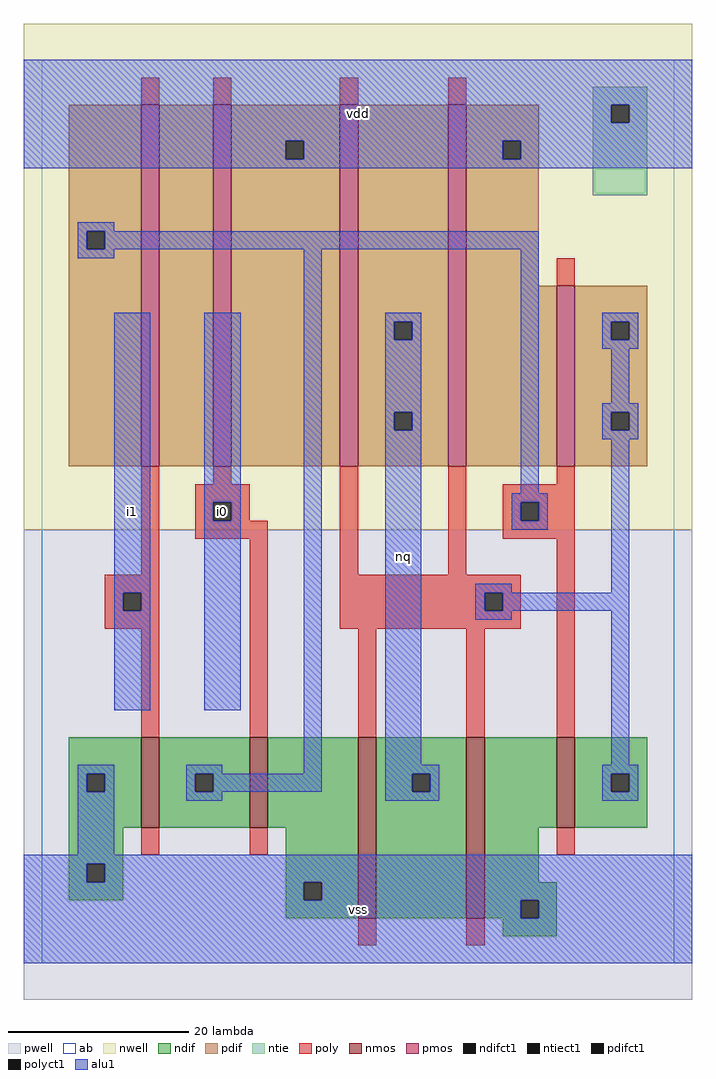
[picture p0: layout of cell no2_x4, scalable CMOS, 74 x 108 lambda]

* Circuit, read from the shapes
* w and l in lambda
.subckt no2_x4 i0 i1 nq vdd vss
M1 n1 i1 vss VSUBS nfet w=10 l=2
M2 vss i0 n1 VSUBS nfet w=10 l=2
M3 nq n2 vss VSUBS nfet w=20 l=2 m=2
M4 n2 n1 vss VSUBS nfet w=10 l=2
M5 n3 i1 n1 vdd pfet w=40 l=2
M6 vdd i0 n3 vdd pfet w=40 l=2
M7 nq n2 vdd vdd pfet w=40 l=2 m=2
M8 n2 n1 vdd vdd pfet w=20 l=2
.ends

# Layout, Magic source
magic
tech scmos
<< ab >>
rect 0 0 70 100
<< nwell >>
rect -2 48 72 104
<< pwell >>
rect -2 -4 72 48
<< poly >>
rect 11 95 13 98
rect 19 95 21 98
rect 33 95 35 98
rect 45 95 47 98
rect 57 75 59 78
rect 11 43 13 55
rect 19 53 21 55
rect 17 51 23 53
rect 17 49 19 51
rect 21 49 23 51
rect 17 47 25 49
rect 7 41 13 43
rect 7 39 9 41
rect 11 39 13 41
rect 7 37 13 39
rect 11 25 13 37
rect 23 25 25 47
rect 33 43 35 55
rect 45 43 47 55
rect 57 53 59 55
rect 51 51 59 53
rect 51 49 53 51
rect 55 49 59 51
rect 51 47 59 49
rect 33 41 53 43
rect 33 39 49 41
rect 51 39 53 41
rect 33 37 53 39
rect 35 25 37 37
rect 47 25 49 37
rect 57 25 59 47
rect 11 12 13 15
rect 23 12 25 15
rect 57 12 59 15
rect 35 2 37 5
rect 47 2 49 5
<< ndif >>
rect 3 21 11 25
rect 3 19 5 21
rect 7 19 11 21
rect 3 15 11 19
rect 13 21 23 25
rect 13 19 17 21
rect 19 19 23 21
rect 13 15 23 19
rect 25 15 35 25
rect 3 11 9 15
rect 3 9 5 11
rect 7 9 9 11
rect 3 7 9 9
rect 27 9 35 15
rect 27 7 29 9
rect 31 7 35 9
rect 27 5 35 7
rect 37 21 47 25
rect 37 19 41 21
rect 43 19 47 21
rect 37 5 47 19
rect 49 15 57 25
rect 59 21 67 25
rect 59 19 63 21
rect 65 19 67 21
rect 59 15 67 19
rect 49 9 55 15
rect 49 7 57 9
rect 49 5 53 7
rect 55 5 57 7
rect 51 3 57 5
<< pdif >>
rect 3 81 11 95
rect 3 79 5 81
rect 7 79 11 81
rect 3 55 11 79
rect 13 55 19 95
rect 21 91 33 95
rect 21 89 27 91
rect 29 89 33 91
rect 21 55 33 89
rect 35 71 45 95
rect 35 69 39 71
rect 41 69 45 71
rect 35 61 45 69
rect 35 59 39 61
rect 41 59 45 61
rect 35 55 45 59
rect 47 91 55 95
rect 47 89 51 91
rect 53 89 55 91
rect 47 75 55 89
rect 47 55 57 75
rect 59 71 67 75
rect 59 69 63 71
rect 65 69 67 71
rect 59 61 67 69
rect 59 59 63 61
rect 65 59 67 61
rect 59 55 67 59
<< alu1 >>
rect -2 95 72 100
rect -2 93 63 95
rect 65 93 72 95
rect -2 91 72 93
rect -2 89 27 91
rect 29 89 51 91
rect 53 89 72 91
rect -2 88 72 89
rect 4 81 8 82
rect 4 79 5 81
rect 7 79 55 81
rect 4 78 8 79
rect 8 41 12 72
rect 8 39 9 41
rect 11 39 12 41
rect 8 28 12 39
rect 18 51 22 72
rect 18 49 19 51
rect 21 49 22 51
rect 18 28 22 49
rect 4 21 8 22
rect 4 19 5 21
rect 7 19 8 21
rect 4 12 8 19
rect 16 21 20 22
rect 29 21 31 79
rect 16 19 17 21
rect 19 19 31 21
rect 38 71 42 72
rect 38 69 39 71
rect 41 69 42 71
rect 38 61 42 69
rect 38 59 39 61
rect 41 59 42 61
rect 38 22 42 59
rect 53 52 55 79
rect 62 71 66 72
rect 62 69 63 71
rect 65 69 66 71
rect 62 68 66 69
rect 63 62 65 68
rect 62 61 66 62
rect 62 59 63 61
rect 65 59 66 61
rect 62 58 66 59
rect 52 51 56 52
rect 52 49 53 51
rect 55 49 56 51
rect 52 48 56 49
rect 48 41 52 42
rect 63 41 65 58
rect 48 39 49 41
rect 51 39 65 41
rect 48 38 52 39
rect 63 22 65 39
rect 38 21 44 22
rect 38 19 41 21
rect 43 19 44 21
rect 16 18 20 19
rect 38 18 44 19
rect 62 21 66 22
rect 62 19 63 21
rect 65 19 66 21
rect 62 18 66 19
rect -2 11 72 12
rect -2 9 5 11
rect 7 9 72 11
rect -2 7 29 9
rect 31 7 72 9
rect -2 5 53 7
rect 55 5 72 7
rect -2 0 72 5
<< ntie >>
rect 61 95 67 97
rect 61 93 63 95
rect 65 93 67 95
rect 61 85 67 93
<< nmos >>
rect 11 15 13 25
rect 23 15 25 25
rect 35 5 37 25
rect 47 5 49 25
rect 57 15 59 25
<< pmos >>
rect 11 55 13 95
rect 19 55 21 95
rect 33 55 35 95
rect 45 55 47 95
rect 57 55 59 75
<< polyct1 >>
rect 19 49 21 51
rect 9 39 11 41
rect 53 49 55 51
rect 49 39 51 41
<< ndifct1 >>
rect 5 19 7 21
rect 17 19 19 21
rect 5 9 7 11
rect 29 7 31 9
rect 41 19 43 21
rect 63 19 65 21
rect 53 5 55 7
<< ntiect1 >>
rect 63 93 65 95
<< pdifct1 >>
rect 5 79 7 81
rect 27 89 29 91
rect 39 69 41 71
rect 39 59 41 61
rect 51 89 53 91
rect 63 69 65 71
rect 63 59 65 61
<< labels >>
rlabel alu1 10 50 10 50 6 i1
rlabel polyct1 20 50 20 50 6 i0
rlabel alu1 35 6 35 6 6 vss
rlabel alu1 40 45 40 45 6 nq
rlabel alu1 35 94 35 94 6 vdd
<< end >>
